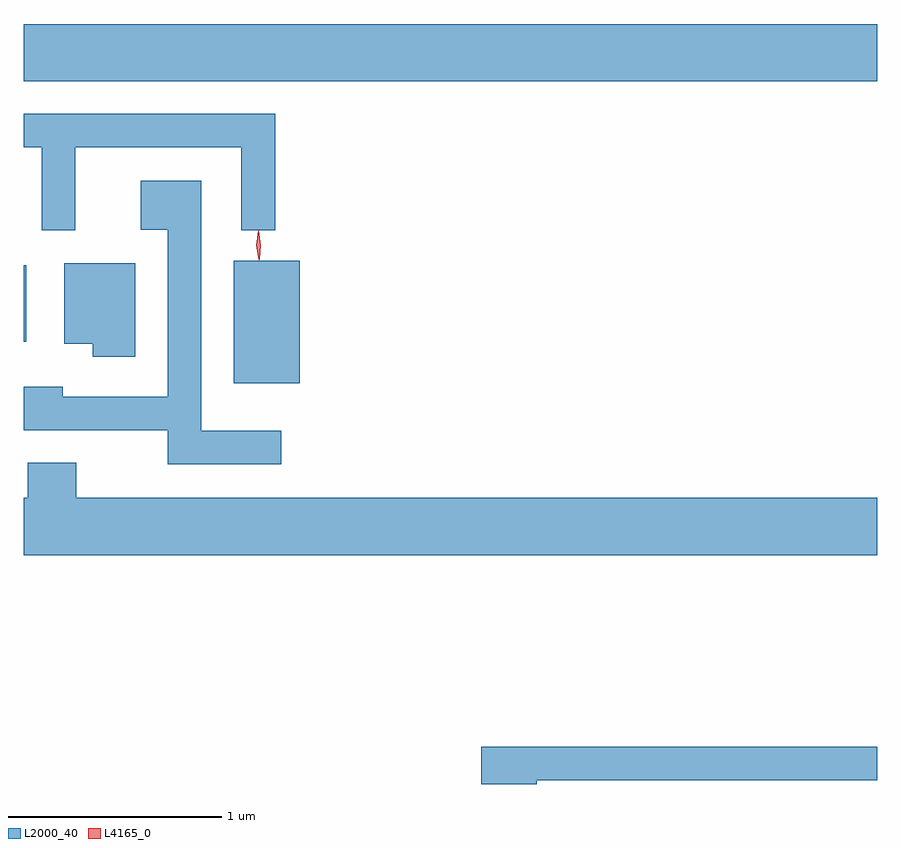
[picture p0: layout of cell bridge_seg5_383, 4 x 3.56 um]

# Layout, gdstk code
import gdstk
lib = gdstk.Library(unit=1e-6, precision=1e-09)
def R(c, l, rs):  # rectangles x0, y0, x1, y1
    for r in rs: c.add(gdstk.rectangle(r[:2], r[2:], *l))
def P(c, l, *ps):  # polygons
    for p in ps: c.add(gdstk.Polygon(p, *l))
L2000_40 = (2000, 40)
L4165_0 = (4165, 0)

bridge_seg5_383 = lib.new_cell('bridge_seg5_383')
R(bridge_seg5_383, L2000_40, [(551.546,1473.141,551.854,1473.714), (550.561,1473.336,550.574,1473.694), (550.561,1474.556,554.561,1474.824)])
P(bridge_seg5_383, L2000_40, [(550.804,1474.246),(551.581,1474.246),(551.581,1473.858),(551.739,1473.858),(551.739,1474.404),(550.561,1474.404),(550.561,1474.246),(550.646,1474.246),(550.646,1473.858),(550.804,1473.858)],
  [(551.768,1472.919),(551.394,1472.919),(551.394,1474.089),(551.111,1474.089),(551.111,1473.861),(551.236,1473.861),(551.236,1473.079),(550.744,1473.079),(550.744,1473.124),(550.561,1473.124),(550.561,1472.921),(551.236,1472.921),(551.236,1472.761),(551.768,1472.761)],
  [(551.084,1473.704),(550.751,1473.704),(550.751,1473.326),(550.886,1473.326),(550.886,1473.266),(551.084,1473.266)],
  [(554.561,1472.604),(550.809,1472.604),(550.809,1472.769),(550.581,1472.769),(550.581,1472.604),(550.561,1472.604),(550.561,1472.336),(554.561,1472.336)],
  [(552.964,1471.281),(554.561,1471.281),(554.561,1471.439),(552.706,1471.439),(552.706,1471.264),(552.964,1471.264)])
P(bridge_seg5_383, L4165_0, [(551.664,1473.718),(551.663,1473.719),(551.652,1473.787),(551.661,1473.855),(551.661,1473.856),(551.662,1473.855),(551.672,1473.787),(551.664,1473.719)],
  [(551.666,1473.721),(551.666,1473.722),(551.654,1473.786),(551.66,1473.852),(551.66,1473.852),(551.661,1473.852),(551.673,1473.787),(551.667,1473.722)])

lib.write_gds('bridge_seg5_383.gds')
